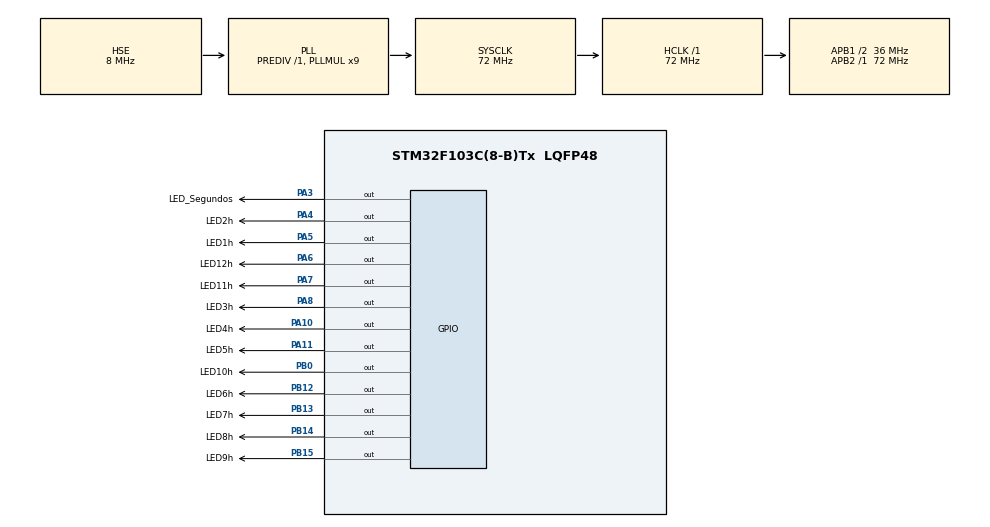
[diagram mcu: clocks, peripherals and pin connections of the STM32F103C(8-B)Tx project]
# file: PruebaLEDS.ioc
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Mcu.Family=STM32F1
Mcu.Name=STM32F103C(8-B)Tx
Mcu.Package=LQFP48
NVIC.PriorityGroup=NVIC_PRIORITYGROUP_4
PA10.GPIO_Label=LED4h
PA10.GPIO_Speed=GPIO_SPEED_FREQ_HIGH
PA10.PinState=GPIO_PIN_SET
PA10.Signal=GPIO_Output
PA11.GPIO_Label=LED5h
PA11.GPIO_Speed=GPIO_SPEED_FREQ_HIGH
PA11.PinState=GPIO_PIN_SET
PA11.Signal=GPIO_Output
PA13.Mode=Serial_Wire
PA13.Signal=SYS_JTMS-SWDIO
PA14.Mode=Serial_Wire
PA14.Signal=SYS_JTCK-SWCLK
PA3.GPIO_Label=LED_Segundos
PA3.Signal=GPIO_Output
PA4.GPIO_Label=LED2h
PA4.GPIO_Speed=GPIO_SPEED_FREQ_HIGH
PA4.PinState=GPIO_PIN_SET
PA4.Signal=GPIO_Output
PA5.GPIO_Label=LED1h
PA5.GPIO_Speed=GPIO_SPEED_FREQ_HIGH
PA5.PinState=GPIO_PIN_SET
PA5.Signal=GPIO_Output
PA6.GPIO_Label=LED12h
PA6.GPIO_Speed=GPIO_SPEED_FREQ_HIGH
PA6.PinState=GPIO_PIN_SET
PA6.Signal=GPIO_Output
PA7.GPIO_Label=LED11h
PA7.GPIO_Speed=GPIO_SPEED_FREQ_HIGH
PA7.PinState=GPIO_PIN_SET
PA7.Signal=GPIO_Output
PA8.GPIO_Label=LED3h
PA8.GPIO_Speed=GPIO_SPEED_FREQ_HIGH
PA8.PinState=GPIO_PIN_SET
PA8.Signal=GPIO_Output
PB0.GPIO_Label=LED10h
PB0.GPIO_Speed=GPIO_SPEED_FREQ_HIGH
PB0.PinState=GPIO_PIN_SET
PB0.Signal=GPIO_Output
PB12.GPIO_Label=LED6h
PB12.GPIO_Speed=GPIO_SPEED_FREQ_HIGH
PB12.PinState=GPIO_PIN_SET
PB12.Signal=GPIO_Output
PB13.GPIO_Label=LED7h
PB13.GPIO_Speed=GPIO_SPEED_FREQ_HIGH
PB13.PinState=GPIO_PIN_SET
PB13.Signal=GPIO_Output
PB14.GPIO_Label=LED8h
PB14.GPIO_Speed=GPIO_SPEED_FREQ_HIGH
PB14.PinState=GPIO_PIN_SET
PB14.Signal=GPIO_Output
PB15.GPIO_Label=LED9h
PB15.GPIO_Speed=GPIO_SPEED_FREQ_HIGH
PB15.PinState=GPIO_PIN_SET
PB15.Signal=GPIO_Output
PD0-OSC_IN.Mode=HSE-External-Oscillator
PD0-OSC_IN.Signal=RCC_OSC_IN
PD1-OSC_OUT.Mode=HSE-External-Oscillator
PD1-OSC_OUT.Signal=RCC_OSC_OUT
ProjectManager.HeapSize=0x200
ProjectManager.StackSize=0x400
ProjectManager.TargetToolchain=STM32CubeIDE
RCC.AHBFreq_Value=72000000
RCC.APB1CLKDivider=RCC_HCLK_DIV2
RCC.APB1Freq_Value=36000000
RCC.APB1TimFreq_Value=72000000
RCC.APB2Freq_Value=72000000
RCC.APB2TimFreq_Value=72000000
RCC.HCLKFreq_Value=72000000
RCC.PLLMUL=RCC_PLL_MUL9
RCC.PLLSourceVirtual=RCC_PLLSOURCE_HSE
RCC.SYSCLKFreq_VALUE=72000000
RCC.SYSCLKSource=RCC_SYSCLKSOURCE_PLLCLK
RCC.USBFreq_Value=72000000
board=custom

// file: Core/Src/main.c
/* USER CODE BEGIN Header */
/**
  ******************************************************************************
  * @file           : main.c
  * @brief          : Main program body
  ******************************************************************************
  * @attention
  *
  * Copyright (c) 2022 STMicroelectronics.
  * All rights reserved.
  *
  * This software is licensed under terms that can be found in the LICENSE file
  * in the root directory of this software component.
  * If no LICENSE file comes with this software, it is provided AS-IS.
  *
  ******************************************************************************
  */
/* USER CODE END Header */
#include "main.h"

void SystemClock_Config(void);
static void MX_GPIO_Init(void);

int main(void)
{
  /* USER CODE BEGIN 1 */
	unsigned char h,m,d;

	unsigned char i, j, k;

  /* USER CODE END 1 */

  /* MCU Configuration--------------------------------------------------------*/

  /* Reset of all peripherals, Initializes the Flash interface and the Systick. */
  HAL_Init();

  /* Configure the system clock */
  SystemClock_Config();

  /* Initialize all configured peripherals */
  MX_GPIO_Init();

  /* Infinite loop */
  /* USER CODE BEGIN WHILE */
  while (1)
  {

	  //Establecemos los valores iniciales de tiempo:
	  //Horas:
	  h = 5;
	  //Decena minutos:
	  d = 5;
	  //Unidades minutos:
	  m = 5;

	  //%%%%%%%%%%%%%%%%%%%%%%%%%%%%%%%%%%%%%%%%%%%%%%%%%%%%%%%%%%%%%%%%%%%%%%%%%%%
	  	  //Inicializamos los led en 0:
	  	  HAL_GPIO_WritePin(GPIOA, LED2h_Pin|LED1h_Pin|LED12h_Pin|LED11h_Pin
	  	  		                    |LED3h_Pin|LED4h_Pin|LED5h_Pin, GPIO_PIN_RESET);
	  	  HAL_GPIO_WritePin(GPIOB, LED10h_Pin|LED6h_Pin|LED7h_Pin|LED8h_Pin
	  	  		                    |LED9h_Pin, GPIO_PIN_RESET);
	  //%%%%%%%%%%%%%%%%%%%%%%%%%%%%%%%%%%%%%%%%%%%%%%%%%%%%%%%%%%%%%%%%%%%%%%%%%%%

	  //Colocamos el led que marca los segundos:
	  HAL_GPIO_WritePin(LED_Segundos_GPIO_Port, LED_Segundos_Pin, GPIO_PIN_SET);

	  //%%%%%%%%%%%%%%%%%%%%%%%%%%%%%%%%%%%%%%%%%%%%%%%%%%%%%%%%%%%%%%%%%%%%%%%%%%%
	  //Generamos un contador:
	  	  for(i=h; i<24; i++){
	  		  for(j=d; j<6; j++){
	  			  for(k=m; k<10; k++){

	  			  }
	  		  }
	  	  }

	  //%%%%%%%%%%%%%%%%%%%%%%%%%%%%%%%%%%%%%%%%%%%%%%%%%%%%%%%%%%%%%%%%%%%%%%%%%%%

	  if(d==h){
		  for(i=0; i<m; i++){
		 		  switch(d){

		 		  case 1:
		 			  HAL_GPIO_WritePin(LED1h_GPIO_Port, LED1h_Pin, GPIO_PIN_SET);
		 			  HAL_Delay(1000);
		 			  HAL_GPIO_WritePin(LED1h_GPIO_Port, LED1h_Pin, GPIO_PIN_RESET);
		 			  HAL_Delay(1000);
		 			  break;

		 		  case 2:
		 			  HAL_GPIO_WritePin(LED2h_GPIO_Port, LED2h_Pin, GPIO_PIN_SET);
		 			  HAL_Delay(1000);
		 			  HAL_GPIO_WritePin(LED1h_GPIO_Port, LED2h_Pin, GPIO_PIN_RESET);
		 			  HAL_Delay(1000);
		 			  break;
		 		  case 3:
		 			  HAL_GPIO_WritePin(LED3h_GPIO_Port, LED3h_Pin, GPIO_PIN_SET);
		 			  HAL_Delay(1000);
		 			  HAL_GPIO_WritePin(LED1h_GPIO_Port, LED3h_Pin, GPIO_PIN_RESET);
		 			  HAL_Delay(1000);
		 			  break;
		 		  case 4:
		 			  HAL_GPIO_WritePin(LED4h_GPIO_Port, LED4h_Pin, GPIO_PIN_SET);
		 			  HAL_Delay(1000);
		 			  HAL_GPIO_WritePin(LED1h_GPIO_Port, LED4h_Pin, GPIO_PIN_RESET);
		 			  HAL_Delay(1000);
		 			  break;
		 		  case 5:
		 			  HAL_GPIO_WritePin(LED5h_GPIO_Port, LED5h_Pin, GPIO_PIN_SET);
		 			  HAL_Delay(1000);
		 			  HAL_GPIO_WritePin(LED1h_GPIO_Port, LED5h_Pin, GPIO_PIN_RESET);
		 			  HAL_Delay(1000);
		 			  break;

		 		  }
		 	  }
	  }else{

		  //En el siguiente switch se determina la hora:
		  	  switch(h){

		  	  case 1:
		  		  HAL_GPIO_WritePin(LED1h_GPIO_Port, LED1h_Pin, GPIO_PIN_SET);
		  		  break;

		  	  case 2:
		  	  		  HAL_GPIO_WritePin(LED2h_GPIO_Port, LED2h_Pin, GPIO_PIN_SET);
		  	  		  break;
		  	  case 3:
		  	  		  HAL_GPIO_WritePin(LED3h_GPIO_Port, LED3h_Pin, GPIO_PIN_SET);
		  	  		  break;
		  	  case 4:
		  	  		  HAL_GPIO_WritePin(LED4h_GPIO_Port, LED4h_Pin, GPIO_PIN_SET);
		  	  		  break;
		  	  case 5:
		  	  		  HAL_GPIO_WritePin(LED5h_GPIO_Port, LED5h_Pin, GPIO_PIN_SET);
		  	  		  break;
		  	  case 6:
		  	  		  HAL_GPIO_WritePin(LED6h_GPIO_Port, LED6h_Pin, GPIO_PIN_SET);
		  	  		  break;
		  	  case 7:
		  	  		  HAL_GPIO_WritePin(LED7h_GPIO_Port, LED7h_Pin, GPIO_PIN_SET);
		  	  		  break;
		  	  case 8:
		  	  		  HAL_GPIO_WritePin(LED8h_GPIO_Port, LED8h_Pin, GPIO_PIN_SET);
		  	  		  break;
		  	  case 9:
		  	  		  HAL_GPIO_WritePin(LED9h_GPIO_Port, LED9h_Pin, GPIO_PIN_SET);
		  	  		  break;
		  	  case 10:
		  	  		  HAL_GPIO_WritePin(LED10h_GPIO_Port, LED10h_Pin, GPIO_PIN_SET);
		  	  		  break;
		  	  case 11:
		  	  		  HAL_GPIO_WritePin(LED11h_GPIO_Port, LED11h_Pin, GPIO_PIN_SET);
		  	  		  break;
		  	  case 12:
		  	  		  HAL_GPIO_WritePin(LED12h_GPIO_Port, LED12h_Pin, GPIO_PIN_SET);
		  	  		  break;
		  	  }

		  	  //%%%%%%%%%%%%%%%%%%%%%%%%%%%%%%%%%%%%%%%%%%%%%%%%%%%%%%%%%%%%%%%%%%%%%%%%

		  	  for(i=0; i<m; i++){
		  		  switch(d){

		  		  case 1:
		  			  HAL_GPIO_WritePin(LED1h_GPIO_Port, LED1h_Pin, GPIO_PIN_SET);
		  			  HAL_Delay(1000);
		  			  HAL_GPIO_WritePin(LED1h_GPIO_Port, LED1h_Pin, GPIO_PIN_RESET);
		  			  HAL_Delay(1000);
		  			  break;

		  		  case 2:
		  			  HAL_GPIO_WritePin(LED2h_GPIO_Port, LED2h_Pin, GPIO_PIN_SET);
		  			  HAL_Delay(1000);
		  			  HAL_GPIO_WritePin(LED1h_GPIO_Port, LED2h_Pin, GPIO_PIN_RESET);
		  			  HAL_Delay(1000);
		  			  break;
		  		  case 3:
		  			  HAL_GPIO_WritePin(LED3h_GPIO_Port, LED3h_Pin, GPIO_PIN_SET);
		  			  HAL_Delay(1000);
		  			  HAL_GPIO_WritePin(LED1h_GPIO_Port, LED3h_Pin, GPIO_PIN_RESET);
		  			  HAL_Delay(1000);
		  			  break;
		  		  case 4:
		  			  HAL_GPIO_WritePin(LED4h_GPIO_Port, LED4h_Pin, GPIO_PIN_SET);
		  			  HAL_Delay(1000);
		  			  HAL_GPIO_WritePin(LED1h_GPIO_Port, LED4h_Pin, GPIO_PIN_RESET);
		  			  HAL_Delay(1000);
		  			  break;
		  		  case 5:
		  			  HAL_GPIO_WritePin(LED5h_GPIO_Port, LED5h_Pin, GPIO_PIN_SET);
		  			  HAL_Delay(1000);
		  			  HAL_GPIO_WritePin(LED1h_GPIO_Port, LED5h_Pin, GPIO_PIN_RESET);
		  			  HAL_Delay(1000);
		  			  break;
		  		  }

		  	  }

	  }

	  HAL_Delay(10000);
    /* USER CODE END WHILE */

  }
}

void SystemClock_Config(void)
{
  RCC_OscInitTypeDef RCC_OscInitStruct = {0};
  RCC_ClkInitTypeDef RCC_ClkInitStruct = {0};

  /** Initializes the RCC Oscillators according to the specified parameters
  * in the RCC_OscInitTypeDef structure.
  */
  RCC_OscInitStruct.OscillatorType = RCC_OSCILLATORTYPE_HSE;
  RCC_OscInitStruct.HSEState = RCC_HSE_ON;
  RCC_OscInitStruct.HSEPredivValue = RCC_HSE_PREDIV_DIV1;
  RCC_OscInitStruct.HSIState = RCC_HSI_ON;
  RCC_OscInitStruct.PLL.PLLState = RCC_PLL_ON;
  RCC_OscInitStruct.PLL.PLLSource = RCC_PLLSOURCE_HSE;
  RCC_OscInitStruct.PLL.PLLMUL = RCC_PLL_MUL9;
  if (HAL_RCC_OscConfig(&RCC_OscInitStruct) != HAL_OK)
  {
    Error_Handler();
  }
  /** Initializes the CPU, AHB and APB buses clocks
  */
  RCC_ClkInitStruct.ClockType = RCC_CLOCKTYPE_HCLK|RCC_CLOCKTYPE_SYSCLK
                              |RCC_CLOCKTYPE_PCLK1|RCC_CLOCKTYPE_PCLK2;
  RCC_ClkInitStruct.SYSCLKSource = RCC_SYSCLKSOURCE_PLLCLK;
  RCC_ClkInitStruct.AHBCLKDivider = RCC_SYSCLK_DIV1;
  RCC_ClkInitStruct.APB1CLKDivider = RCC_HCLK_DIV2;
  RCC_ClkInitStruct.APB2CLKDivider = RCC_HCLK_DIV1;

  if (HAL_RCC_ClockConfig(&RCC_ClkInitStruct, FLASH_LATENCY_2) != HAL_OK)
  {
    Error_Handler();
  }
}

static void MX_GPIO_Init(void)
{
  GPIO_InitTypeDef GPIO_InitStruct = {0};

  /* GPIO Ports Clock Enable */
  __HAL_RCC_GPIOD_CLK_ENABLE();
  __HAL_RCC_GPIOA_CLK_ENABLE();
  __HAL_RCC_GPIOB_CLK_ENABLE();

  /*Configure GPIO pin Output Level */
  HAL_GPIO_WritePin(LED_Segundos_GPIO_Port, LED_Segundos_Pin, GPIO_PIN_RESET);

  /*Configure GPIO pin Output Level */
  HAL_GPIO_WritePin(GPIOA, LED2h_Pin|LED1h_Pin|LED12h_Pin|LED11h_Pin
                          |LED3h_Pin|LED4h_Pin|LED5h_Pin, GPIO_PIN_SET);

  /*Configure GPIO pin Output Level */
  HAL_GPIO_WritePin(GPIOB, LED10h_Pin|LED6h_Pin|LED7h_Pin|LED8h_Pin
                          |LED9h_Pin, GPIO_PIN_SET);

  /*Configure GPIO pin : LED_Segundos_Pin */
  GPIO_InitStruct.Pin = LED_Segundos_Pin;
  GPIO_InitStruct.Mode = GPIO_MODE_OUTPUT_PP;
  GPIO_InitStruct.Pull = GPIO_NOPULL;
  GPIO_InitStruct.Speed = GPIO_SPEED_FREQ_LOW;
  HAL_GPIO_Init(LED_Segundos_GPIO_Port, &GPIO_InitStruct);

  /*Configure GPIO pins : LED2h_Pin LED1h_Pin LED12h_Pin LED11h_Pin
                           LED3h_Pin LED4h_Pin LED5h_Pin */
  GPIO_InitStruct.Pin = LED2h_Pin|LED1h_Pin|LED12h_Pin|LED11h_Pin
                          |LED3h_Pin|LED4h_Pin|LED5h_Pin;
  GPIO_InitStruct.Mode = GPIO_MODE_OUTPUT_PP;
  GPIO_InitStruct.Pull = GPIO_NOPULL;
  GPIO_InitStruct.Speed = GPIO_SPEED_FREQ_HIGH;
  HAL_GPIO_Init(GPIOA, &GPIO_InitStruct);

  /*Configure GPIO pins : LED10h_Pin LED6h_Pin LED7h_Pin LED8h_Pin
                           LED9h_Pin */
  GPIO_InitStruct.Pin = LED10h_Pin|LED6h_Pin|LED7h_Pin|LED8h_Pin
                          |LED9h_Pin;
  GPIO_InitStruct.Mode = GPIO_MODE_OUTPUT_PP;
  GPIO_InitStruct.Pull = GPIO_NOPULL;
  GPIO_InitStruct.Speed = GPIO_SPEED_FREQ_HIGH;
  HAL_GPIO_Init(GPIOB, &GPIO_InitStruct);

}

void Error_Handler(void)
{
  __disable_irq();
  while (1)
  {
  }
}
